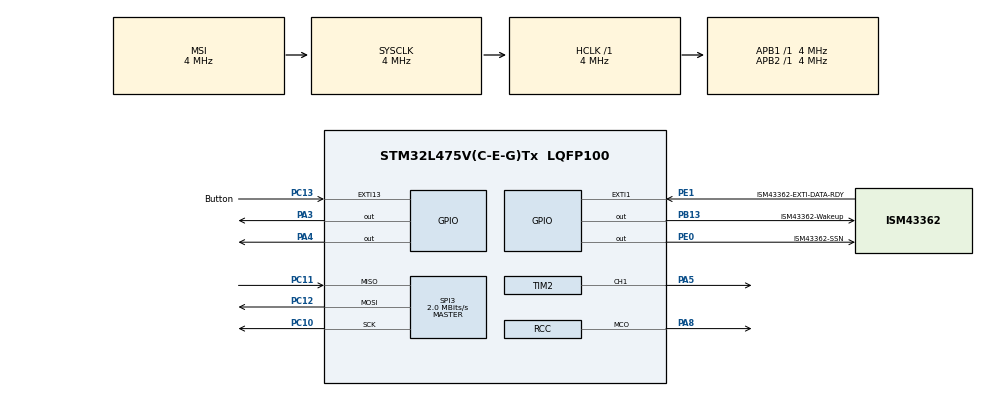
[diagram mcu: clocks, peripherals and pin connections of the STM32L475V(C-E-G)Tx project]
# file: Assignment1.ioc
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Mcu.Family=STM32L4
Mcu.Name=STM32L475V(C-E-G)Tx
Mcu.Package=LQFP100
NVIC.EXTI15_10_IRQn=true\:0\:0\:false\:false\:true\:true\:true
NVIC.EXTI1_IRQn=true\:0\:0\:false\:false\:true\:true\:true
NVIC.PriorityGroup=NVIC_PRIORITYGROUP_4
PA13\ (JTMS-SWDIO).Mode=Serial_Wire
PA13\ (JTMS-SWDIO).Signal=SYS_JTMS-SWDIO
PA14\ (JTCK-SWCLK).Mode=Serial_Wire
PA14\ (JTCK-SWCLK).Signal=SYS_JTCK-SWCLK
PA3.GPIO_PuPd=GPIO_PULLUP
PA3.Signal=GPIO_Output
PA4.GPIO_PuPd=GPIO_PULLUP
PA4.Signal=GPIO_Output
PA5.Signal=S_TIM2_CH1
PA8.Mode=Clock-out
PA8.Signal=RCC_MCO
PB13.GPIO_Label=ISM43362-Wakeup
PB13.Signal=GPIO_Output
PC10.Mode=Full_Duplex_Master
PC10.Signal=SPI3_SCK
PC11.Mode=Full_Duplex_Master
PC11.Signal=SPI3_MISO
PC12.Mode=Full_Duplex_Master
PC12.Signal=SPI3_MOSI
PC13.GPIO_Label=Button
PC13.GPIO_PuPd=GPIO_PULLUP
PC13.Signal=GPXTI13
PE0.GPIO_Label=ISM43362-SSN
PE0.Signal=GPIO_Output
PE1.GPIO_Label=ISM43362-EXTI-DATA-RDY
PE1.GPIO_ModeDefaultEXTI=GPIO_MODE_IT_FALLING
PE1.Signal=GPXTI1
PH0-OSC_IN\ (PH0).Mode=HSE-External-Oscillator
PH0-OSC_IN\ (PH0).Signal=RCC_OSC_IN
PH1-OSC_OUT\ (PH1).Mode=HSE-External-Oscillator
PH1-OSC_OUT\ (PH1).Signal=RCC_OSC_OUT
ProjectManager.HeapSize=0x200
ProjectManager.StackSize=0x400
ProjectManager.TargetToolchain=STM32CubeIDE
RCC.AHBFreq_Value=4000000
RCC.APB1Freq_Value=4000000
RCC.APB1TimFreq_Value=4000000
RCC.APB2Freq_Value=4000000
RCC.APB2TimFreq_Value=4000000
RCC.CortexFreq_Value=4000000
RCC.HCLKFreq_Value=4000000
RCC.HSE_VALUE=8000000
RCC.HSI_VALUE=16000000
RCC.LSE_VALUE=32768
RCC.MSI_VALUE=4000000
RCC.SYSCLKFreq_VALUE=4000000
RCC.VCOOutputFreq_Value=32000000
SH.S_TIM2_CH1.0=TIM2_CH1,PWM Generation1 CH1
SPI3.BaudRatePrescaler=SPI_BAUDRATEPRESCALER_2
SPI3.CalculateBaudRate=2.0 MBits/s
SPI3.DataSize=SPI_DATASIZE_16BIT
SPI3.Direction=SPI_DIRECTION_2LINES
SPI3.Mode=SPI_MODE_MASTER
SPI3.VirtualType=VM_MASTER
TIM2.AutoReloadPreload=TIM_AUTORELOAD_PRELOAD_ENABLE
TIM2.Channel-PWM\ Generation1\ CH1=TIM_CHANNEL_1
TIM2.Period=39999
VP_TIM2_VS_ClockSourceINT.Mode=Internal
board=custom

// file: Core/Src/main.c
/* USER CODE BEGIN Header */
/**
 * *****************************************************************************
 * Name: Jonathan Dean
 * Assignment: #1
 * Program Summary:
 * Using different initialization conditions (using preprocessor directives),
 * I change between the project for Parts A, B, and C. I set the onboard LED
 * to a PWM with a period of 10 ms using STM32CubeMX. I change this value from
 * an array for Parts A and B.
 *
 * Part C represents an ignition button for a PWM-driven wheel motor
 * (represented here by LED brightness). When the button is pressed, the PWM
 * gradually changes up to the max “speed” (PWM value). When the button is
 * pressed again, the PWM gradually reduces the motor’s speed (PWM value)
 * until the motor comes to a halt (at a value of 0).
 * *****************************************************************************
 */
/**
  ******************************************************************************
  * @file           : main.c
  * @brief          : Main program body
  ******************************************************************************
  * @attention
  *
  * <h2><center>&copy; Copyright (c) 2020 STMicroelectronics.
  * All rights reserved.</center></h2>
  *
  * This software component is licensed by ST under BSD 3-Clause license,
  * the "License"; You may not use this file except in compliance with the
  * License. You may obtain a copy of the License at:
  *                        opensource.org/licenses/BSD-3-Clause
  *
  ******************************************************************************
  */
/* USER CODE END Header */
#include "main.h"

/* USER CODE BEGIN Includes */
#include <stdint.h>
#include "Time.h" // Custom Time Library
/* USER CODE END Includes */

/* USER CODE BEGIN PD */
#define BUTTON_DEBOUNCE_TIME_MS MS(100)
/* USER CODE END PD */

SPI_HandleTypeDef hspi3;

TIM_HandleTypeDef htim2;

void SystemClock_Config(void);
static void MX_GPIO_Init(void);
static void MX_SPI3_Init(void);
static void MX_TIM2_Init(void);

/* USER CODE BEGIN 0 */
/*	Preprocessor directives and variables for HW1	*/
//#define HW1_PART_A
//#define HW1_PART_B
#define HW1_PART_C

#define PWM_DC_ARR (39999+1)

#if defined(HW1_PART_A)
	#define BLINK_PERIOD MS(1000) 				// blink period (for updates), pseudo-irrelevant in this case.
	#define PWM_STEP_NUM 1 						// number of steps in the PWM DC array
	uint8_t TIM2_CH1_DC[PWM_STEP_NUM] = {50}; 	// PWM DC Array
	int pwm_step_count = 0;						// keeps track of PWM Step count in array
#elif defined(HW1_PART_B)
	#define BLINK_PERIOD MS(1000) 				// blink period (for updates)
	#define PWM_STEP_NUM 8						// number of steps in the PWM DC array
	uint8_t TIM2_CH1_DC[PWM_STEP_NUM] = {0,50,70,90,100,80,60}; 	// PWM DC Array
	int pwm_step_count = 0;						// keeps track of PWM Step count in array
#elif defined(HW1_PART_C)
	#define BLINK_PERIOD MS(50)					// blink period (for updates)
	#define PWM_MAX_DC 100						// Maximum DC Value (0-100%)
	#define PWM_MIN_DC 0						// Minimum DC Value (0-100%)
	uint8_t PWM_val = 0;						// Keeps track of PWM DC
	uint8_t ignition_flag = 0;					// Tracks Ignition related flags (on/off in this case)
#else
	#define BLINK_PERIOD MS(1000)				// blink period (for updates)
#endif

/*	End Preprocessor directives and variables for HW1	*/
/* USER CODE END 0 */

int main(void)
{

  /* MCU Configuration--------------------------------------------------------*/

  /* Reset of all peripherals, Initializes the Flash interface and the Systick. */
  HAL_Init();

  /* Configure the system clock */
  SystemClock_Config();

  /* USER CODE BEGIN SysInit */
  SysTick_Config(SystemCoreClock/SYSTEM_TICK_US_DEFINITION); // set up SysTick
  Time_Init(); // initialize timer
  /* USER CODE END SysInit */

  /* Initialize all configured peripherals */
  MX_GPIO_Init();
  MX_SPI3_Init();
  MX_TIM2_Init();
  /* USER CODE BEGIN 2 */
  HAL_TIM_PWM_Start(&htim2, TIM_CHANNEL_1); // start pwm timer

  HAL_GPIO_WritePin(GPIOA, GPIO_PIN_4, GPIO_PIN_SET); // set initial LED states
  HAL_GPIO_WritePin(GPIOA, GPIO_PIN_3, GPIO_PIN_RESET);
  Tick blink_timer = GetTime_ms(); // initialize timer
  /* USER CODE END 2 */

  /* Infinite loop */
  /* USER CODE BEGIN WHILE */
  while (1)
  {

	  if ((GetTimeSince_ms(blink_timer))>BLINK_PERIOD) // if the PWM should change
	  {
#if defined(HW1_PART_A) || defined(HW1_PART_B)
		  TIM2->CCR1 = TIM2_CH1_DC[pwm_step_count]*PWM_DC_ARR/100; // Set DC
		  pwm_step_count++;	// Increment PWM Step
		  pwm_step_count %= PWM_STEP_NUM; // Make sure that we are not out of bounds
		  blink_timer = GetTime_ms(); // Reset Timer
#elif defined(HW1_PART_C)
		  if ((ignition_flag >0)) // if the ignition is on
		  {
			  if (PWM_val <= PWM_MAX_DC) // if the PWM
			  {
				  PWM_val+=1; // Increase "speed"
				  TIM2->CCR1 = PWM_val*PWM_DC_ARR/100; // set DC
			  } else
			  {
				  // do nothing, we are at max speed
			  }

		  } else
		  {
			  if (PWM_val > PWM_MIN_DC)
			  {
				  PWM_val -=1; // Decrease "Speed"
				  TIM2->CCR1 = PWM_val*PWM_DC_ARR/100; // set DC
			  } else
			  {
				  //do nothing, we are stopped
			  }
		  }
		  blink_timer = GetTime_ms(); // Reset timer
#endif
	  }

    /* USER CODE END WHILE */

  }
}

void SystemClock_Config(void)
{
  RCC_OscInitTypeDef RCC_OscInitStruct = {0};
  RCC_ClkInitTypeDef RCC_ClkInitStruct = {0};

  /** Initializes the RCC Oscillators according to the specified parameters
  * in the RCC_OscInitTypeDef structure.
  */
  RCC_OscInitStruct.OscillatorType = RCC_OSCILLATORTYPE_MSI;
  RCC_OscInitStruct.MSIState = RCC_MSI_ON;
  RCC_OscInitStruct.MSICalibrationValue = 0;
  RCC_OscInitStruct.MSIClockRange = RCC_MSIRANGE_6;
  RCC_OscInitStruct.PLL.PLLState = RCC_PLL_NONE;
  if (HAL_RCC_OscConfig(&RCC_OscInitStruct) != HAL_OK)
  {
    Error_Handler();
  }
  /** Initializes the CPU, AHB and APB buses clocks
  */
  RCC_ClkInitStruct.ClockType = RCC_CLOCKTYPE_HCLK|RCC_CLOCKTYPE_SYSCLK
                              |RCC_CLOCKTYPE_PCLK1|RCC_CLOCKTYPE_PCLK2;
  RCC_ClkInitStruct.SYSCLKSource = RCC_SYSCLKSOURCE_MSI;
  RCC_ClkInitStruct.AHBCLKDivider = RCC_SYSCLK_DIV1;
  RCC_ClkInitStruct.APB1CLKDivider = RCC_HCLK_DIV1;
  RCC_ClkInitStruct.APB2CLKDivider = RCC_HCLK_DIV1;

  if (HAL_RCC_ClockConfig(&RCC_ClkInitStruct, FLASH_LATENCY_0) != HAL_OK)
  {
    Error_Handler();
  }
  HAL_RCC_MCOConfig(RCC_MCO1, RCC_MCO1SOURCE_SYSCLK, RCC_MCODIV_1);
  /** Configure the main internal regulator output voltage
  */
  if (HAL_PWREx_ControlVoltageScaling(PWR_REGULATOR_VOLTAGE_SCALE1) != HAL_OK)
  {
    Error_Handler();
  }
}

static void MX_SPI3_Init(void)
{

  /* SPI3 parameter configuration*/
  hspi3.Instance = SPI3;
  hspi3.Init.Mode = SPI_MODE_MASTER;
  hspi3.Init.Direction = SPI_DIRECTION_2LINES;
  hspi3.Init.DataSize = SPI_DATASIZE_16BIT;
  hspi3.Init.CLKPolarity = SPI_POLARITY_LOW;
  hspi3.Init.CLKPhase = SPI_PHASE_1EDGE;
  hspi3.Init.NSS = SPI_NSS_SOFT;
  hspi3.Init.BaudRatePrescaler = SPI_BAUDRATEPRESCALER_2;
  hspi3.Init.FirstBit = SPI_FIRSTBIT_MSB;
  hspi3.Init.TIMode = SPI_TIMODE_DISABLE;
  hspi3.Init.CRCCalculation = SPI_CRCCALCULATION_DISABLE;
  hspi3.Init.CRCPolynomial = 7;
  hspi3.Init.CRCLength = SPI_CRC_LENGTH_DATASIZE;
  hspi3.Init.NSSPMode = SPI_NSS_PULSE_ENABLE;
  if (HAL_SPI_Init(&hspi3) != HAL_OK)
  {
    Error_Handler();
  }

}

static void MX_TIM2_Init(void)
{

  TIM_ClockConfigTypeDef sClockSourceConfig = {0};
  TIM_MasterConfigTypeDef sMasterConfig = {0};
  TIM_OC_InitTypeDef sConfigOC = {0};

  htim2.Instance = TIM2;
  htim2.Init.Prescaler = 0;
  htim2.Init.CounterMode = TIM_COUNTERMODE_UP;
  htim2.Init.Period = 39999;
  htim2.Init.ClockDivision = TIM_CLOCKDIVISION_DIV1;
  htim2.Init.AutoReloadPreload = TIM_AUTORELOAD_PRELOAD_ENABLE;
  if (HAL_TIM_Base_Init(&htim2) != HAL_OK)
  {
    Error_Handler();
  }
  sClockSourceConfig.ClockSource = TIM_CLOCKSOURCE_INTERNAL;
  if (HAL_TIM_ConfigClockSource(&htim2, &sClockSourceConfig) != HAL_OK)
  {
    Error_Handler();
  }
  if (HAL_TIM_PWM_Init(&htim2) != HAL_OK)
  {
    Error_Handler();
  }
  sMasterConfig.MasterOutputTrigger = TIM_TRGO_RESET;
  sMasterConfig.MasterSlaveMode = TIM_MASTERSLAVEMODE_DISABLE;
  if (HAL_TIMEx_MasterConfigSynchronization(&htim2, &sMasterConfig) != HAL_OK)
  {
    Error_Handler();
  }
  sConfigOC.OCMode = TIM_OCMODE_PWM1;
  sConfigOC.Pulse = 0;
  sConfigOC.OCPolarity = TIM_OCPOLARITY_HIGH;
  sConfigOC.OCFastMode = TIM_OCFAST_DISABLE;
  if (HAL_TIM_PWM_ConfigChannel(&htim2, &sConfigOC, TIM_CHANNEL_1) != HAL_OK)
  {
    Error_Handler();
  }
  HAL_TIM_MspPostInit(&htim2);

}

static void MX_GPIO_Init(void)
{
  GPIO_InitTypeDef GPIO_InitStruct = {0};

  /* GPIO Ports Clock Enable */
  __HAL_RCC_GPIOE_CLK_ENABLE();
  __HAL_RCC_GPIOC_CLK_ENABLE();
  __HAL_RCC_GPIOH_CLK_ENABLE();
  __HAL_RCC_GPIOA_CLK_ENABLE();
  __HAL_RCC_GPIOB_CLK_ENABLE();
  __HAL_RCC_GPIOD_CLK_ENABLE();

  /*Configure GPIO pin Output Level */
  HAL_GPIO_WritePin(GPIOA, GPIO_PIN_3|GPIO_PIN_4, GPIO_PIN_RESET);

  /*Configure GPIO pin Output Level */
  HAL_GPIO_WritePin(ISM43362_Wakeup_GPIO_Port, ISM43362_Wakeup_Pin, GPIO_PIN_RESET);

  /*Configure GPIO pin Output Level */
  HAL_GPIO_WritePin(ISM43362_SSN_GPIO_Port, ISM43362_SSN_Pin, GPIO_PIN_RESET);

  /*Configure GPIO pins : PE2 PE3 PE4 PE5
                           PE6 PE7 PE8 PE9
                           PE10 PE11 PE12 PE13
                           PE14 PE15 */
  GPIO_InitStruct.Pin = GPIO_PIN_2|GPIO_PIN_3|GPIO_PIN_4|GPIO_PIN_5
                          |GPIO_PIN_6|GPIO_PIN_7|GPIO_PIN_8|GPIO_PIN_9
                          |GPIO_PIN_10|GPIO_PIN_11|GPIO_PIN_12|GPIO_PIN_13
                          |GPIO_PIN_14|GPIO_PIN_15;
  GPIO_InitStruct.Mode = GPIO_MODE_ANALOG;
  GPIO_InitStruct.Pull = GPIO_NOPULL;
  HAL_GPIO_Init(GPIOE, &GPIO_InitStruct);

  /*Configure GPIO pin : Button_Pin */
  GPIO_InitStruct.Pin = Button_Pin;
  GPIO_InitStruct.Mode = GPIO_MODE_IT_RISING;
  GPIO_InitStruct.Pull = GPIO_PULLUP;
  HAL_GPIO_Init(Button_GPIO_Port, &GPIO_InitStruct);

  /*Configure GPIO pins : PC14 PC15 PC0 PC1
                           PC2 PC3 PC4 PC5
                           PC6 PC7 PC8 PC9 */
  GPIO_InitStruct.Pin = GPIO_PIN_14|GPIO_PIN_15|GPIO_PIN_0|GPIO_PIN_1
                          |GPIO_PIN_2|GPIO_PIN_3|GPIO_PIN_4|GPIO_PIN_5
                          |GPIO_PIN_6|GPIO_PIN_7|GPIO_PIN_8|GPIO_PIN_9;
  GPIO_InitStruct.Mode = GPIO_MODE_ANALOG;
  GPIO_InitStruct.Pull = GPIO_NOPULL;
  HAL_GPIO_Init(GPIOC, &GPIO_InitStruct);

  /*Configure GPIO pins : PA0 PA1 PA2 PA6
                           PA7 PA9 PA10 PA11
                           PA12 PA15 */
  GPIO_InitStruct.Pin = GPIO_PIN_0|GPIO_PIN_1|GPIO_PIN_2|GPIO_PIN_6
                          |GPIO_PIN_7|GPIO_PIN_9|GPIO_PIN_10|GPIO_PIN_11
                          |GPIO_PIN_12|GPIO_PIN_15;
  GPIO_InitStruct.Mode = GPIO_MODE_ANALOG;
  GPIO_InitStruct.Pull = GPIO_NOPULL;
  HAL_GPIO_Init(GPIOA, &GPIO_InitStruct);

  /*Configure GPIO pins : PA3 PA4 */
  GPIO_InitStruct.Pin = GPIO_PIN_3|GPIO_PIN_4;
  GPIO_InitStruct.Mode = GPIO_MODE_OUTPUT_PP;
  GPIO_InitStruct.Pull = GPIO_PULLUP;
  GPIO_InitStruct.Speed = GPIO_SPEED_FREQ_LOW;
  HAL_GPIO_Init(GPIOA, &GPIO_InitStruct);

  /*Configure GPIO pins : PB0 PB1 PB2 PB10
                           PB11 PB12 PB14 PB15
                           PB3 PB4 PB5 PB6
                           PB7 PB8 PB9 */
  GPIO_InitStruct.Pin = GPIO_PIN_0|GPIO_PIN_1|GPIO_PIN_2|GPIO_PIN_10
                          |GPIO_PIN_11|GPIO_PIN_12|GPIO_PIN_14|GPIO_PIN_15
                          |GPIO_PIN_3|GPIO_PIN_4|GPIO_PIN_5|GPIO_PIN_6
                          |GPIO_PIN_7|GPIO_PIN_8|GPIO_PIN_9;
  GPIO_InitStruct.Mode = GPIO_MODE_ANALOG;
  GPIO_InitStruct.Pull = GPIO_NOPULL;
  HAL_GPIO_Init(GPIOB, &GPIO_InitStruct);

  /*Configure GPIO pin : ISM43362_Wakeup_Pin */
  GPIO_InitStruct.Pin = ISM43362_Wakeup_Pin;
  GPIO_InitStruct.Mode = GPIO_MODE_OUTPUT_PP;
  GPIO_InitStruct.Pull = GPIO_NOPULL;
  GPIO_InitStruct.Speed = GPIO_SPEED_FREQ_LOW;
  HAL_GPIO_Init(ISM43362_Wakeup_GPIO_Port, &GPIO_InitStruct);

  /*Configure GPIO pins : PD8 PD9 PD10 PD11
                           PD12 PD13 PD14 PD15
                           PD0 PD1 PD2 PD3
                           PD4 PD5 PD6 PD7 */
  GPIO_InitStruct.Pin = GPIO_PIN_8|GPIO_PIN_9|GPIO_PIN_10|GPIO_PIN_11
                          |GPIO_PIN_12|GPIO_PIN_13|GPIO_PIN_14|GPIO_PIN_15
                          |GPIO_PIN_0|GPIO_PIN_1|GPIO_PIN_2|GPIO_PIN_3
                          |GPIO_PIN_4|GPIO_PIN_5|GPIO_PIN_6|GPIO_PIN_7;
  GPIO_InitStruct.Mode = GPIO_MODE_ANALOG;
  GPIO_InitStruct.Pull = GPIO_NOPULL;
  HAL_GPIO_Init(GPIOD, &GPIO_InitStruct);

  /*Configure GPIO pin : PA8 */
  GPIO_InitStruct.Pin = GPIO_PIN_8;
  GPIO_InitStruct.Mode = GPIO_MODE_AF_PP;
  GPIO_InitStruct.Pull = GPIO_NOPULL;
  GPIO_InitStruct.Speed = GPIO_SPEED_FREQ_LOW;
  GPIO_InitStruct.Alternate = GPIO_AF0_MCO;
  HAL_GPIO_Init(GPIOA, &GPIO_InitStruct);

  /*Configure GPIO pin : ISM43362_SSN_Pin */
  GPIO_InitStruct.Pin = ISM43362_SSN_Pin;
  GPIO_InitStruct.Mode = GPIO_MODE_OUTPUT_PP;
  GPIO_InitStruct.Pull = GPIO_NOPULL;
  GPIO_InitStruct.Speed = GPIO_SPEED_FREQ_LOW;
  HAL_GPIO_Init(ISM43362_SSN_GPIO_Port, &GPIO_InitStruct);

  /*Configure GPIO pin : ISM43362_EXTI_DATA_RDY_Pin */
  GPIO_InitStruct.Pin = ISM43362_EXTI_DATA_RDY_Pin;
  GPIO_InitStruct.Mode = GPIO_MODE_IT_FALLING;
  GPIO_InitStruct.Pull = GPIO_NOPULL;
  HAL_GPIO_Init(ISM43362_EXTI_DATA_RDY_GPIO_Port, &GPIO_InitStruct);

  /* EXTI interrupt init*/
  HAL_NVIC_SetPriority(EXTI1_IRQn, 0, 0);
  HAL_NVIC_EnableIRQ(EXTI1_IRQn);

  HAL_NVIC_SetPriority(EXTI15_10_IRQn, 0, 0);
  HAL_NVIC_EnableIRQ(EXTI15_10_IRQn);

}

/* USER CODE BEGIN 4 */
Tick exti_13_callback_time = 0;

void HAL_GPIO_EXTI_Callback(uint16_t GPIO_Pin)
{
	switch (GPIO_Pin)
	{
		case (1<<13):
#if defined(HW1_PART_C)
			if (GetTimeSince_ms(exti_13_callback_time) > BUTTON_DEBOUNCE_TIME_MS) // button debouncing
			{
				ignition_flag ^= 0x01; // toggle ignition
				exti_13_callback_time = GetTime_ms();
			}
#else
			if (GetTimeSince_ms(exti_13_callback_time) > BUTTON_DEBOUNCE_TIME_MS)
			{
				HAL_GPIO_TogglePin(GPIOA, GPIO_PIN_4);// code from last week
				exti_13_callback_time = GetTime_ms();
			}
#endif
			break;
		default:
			break;
	}
}
/* USER CODE END 4 */

void Error_Handler(void)
{
}

/************************ (C) COPYRIGHT STMicroelectronics *****END OF FILE****/
